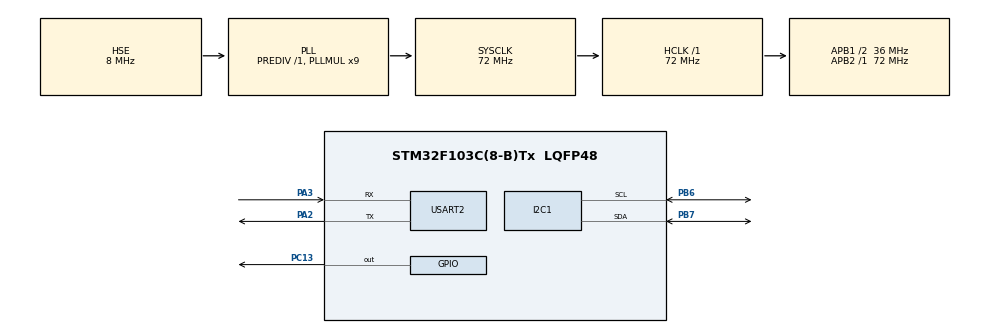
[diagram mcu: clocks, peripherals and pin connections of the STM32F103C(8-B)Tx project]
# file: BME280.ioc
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Mcu.Family=STM32F1
Mcu.Name=STM32F103C(8-B)Tx
Mcu.Package=LQFP48
NVIC.PriorityGroup=NVIC_PRIORITYGROUP_4
PA13.Mode=Serial_Wire
PA13.Signal=SYS_JTMS-SWDIO
PA14.Mode=Serial_Wire
PA14.Signal=SYS_JTCK-SWCLK
PA2.Mode=Asynchronous
PA2.Signal=USART2_TX
PA3.Mode=Asynchronous
PA3.Signal=USART2_RX
PB6.Mode=I2C
PB6.Signal=I2C1_SCL
PB7.Mode=I2C
PB7.Signal=I2C1_SDA
PC13-TAMPER-RTC.Signal=GPIO_Output
PD0-OSC_IN.Mode=HSE-External-Oscillator
PD0-OSC_IN.Signal=RCC_OSC_IN
PD1-OSC_OUT.Mode=HSE-External-Oscillator
PD1-OSC_OUT.Signal=RCC_OSC_OUT
ProjectManager.HeapSize=0x200
ProjectManager.StackSize=0x400
ProjectManager.TargetToolchain=Makefile
RCC.AHBFreq_Value=72000000
RCC.APB1CLKDivider=RCC_HCLK_DIV2
RCC.APB1Freq_Value=36000000
RCC.APB1TimFreq_Value=72000000
RCC.APB2Freq_Value=72000000
RCC.APB2TimFreq_Value=72000000
RCC.HCLKFreq_Value=72000000
RCC.PLLMUL=RCC_PLL_MUL9
RCC.PLLSourceVirtual=RCC_PLLSOURCE_HSE
RCC.SYSCLKFreq_VALUE=72000000
RCC.SYSCLKSource=RCC_SYSCLKSOURCE_PLLCLK
RCC.USBFreq_Value=72000000
USART2.VirtualMode=VM_ASYNC
board=custom

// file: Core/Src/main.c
/* USER CODE BEGIN Header */
/**
  ******************************************************************************
  * @file           : main.c
  * @brief          : Main program body
  ******************************************************************************
  * @attention
  *
  * Copyright (c) 2024 STMicroelectronics.
  * All rights reserved.
  *
  * This software is licensed under terms that can be found in the LICENSE file
  * in the root directory of this software component.
  * If no LICENSE file comes with this software, it is provided AS-IS.
  *
  ******************************************************************************
  */
/* USER CODE END Header */
#include "main.h"

/* USER CODE BEGIN Includes */
#include "BME280_STM32.h"
#include "stdio.h"
#include "math.h"
#include "string.h"

/* USER CODE END Includes */

I2C_HandleTypeDef hi2c1;

UART_HandleTypeDef huart2;

void SystemClock_Config(void);
static void MX_GPIO_Init(void);
static void MX_I2C1_Init(void);
static void MX_USART2_UART_Init(void);

/* USER CODE BEGIN 0 */
float Temperature, Pressure, Humidity;
extern int32_t tRaw, pRaw, hRaw; // Đảm bảo các biến này được định nghĩa ở đâu đó
int data_int = 3;
float data_float = 3.9;

// #ifdef __GNUC__
// #define PUTCHAR_PROTOTYPE int __io_putchar(int ch)
// #else
// #define PUTCHAR_PROTOTYPE int fputc(int ch, FILE *f)
// #endif /* __GNUC__ */
// /**
//  * @brief  Retargets the C library printf function to the USART.
//  * @param None
//  * @retval None
//  */
// PUTCHAR_PROTOTYPE
// {
//   HAL_UART_Transmit(&huart2, (uint8_t *)&ch, 1, HAL_MAX_DELAY);
//   return ch;
// }

/* USER CODE END 0 */

int main(void)
{

  /* MCU Configuration--------------------------------------------------------*/

  /* Reset of all peripherals, Initializes the Flash interface and the Systick. */
  HAL_Init();

  /* Configure the system clock */
  SystemClock_Config();

  /* Initialize all configured peripherals */
  MX_GPIO_Init();
  MX_I2C1_Init();
  MX_USART2_UART_Init();
  /* USER CODE BEGIN 2 */

  // Kiểm tra cảm biến BME280
  if (HAL_I2C_IsDeviceReady(&hi2c1, 0xEC, 3, HAL_MAX_DELAY) != HAL_OK)
  {
    printf("Error! No BMP Sensor Detected!!!\n");
  }
  else
  {
    printf("BME280 Sensor Detected!\n");
    BME280_Config(OSRS_2, OSRS_16, OSRS_1, MODE_NORMAL, T_SB_0p5, IIR_16);
  }
  /* USER CODE END 2 */

  /* Infinite loop */
  while (1)
  {

    /* USER CODE BEGIN 3 */
    BME280_Measure();
    // checkChipID();

    // In giá trị thô
    // printf("Raw Temperature: %ld\n", tRaw);
    // printf("Raw Pressure: %ld\n", pRaw);
    // printf("Raw Humidity: %ld\n", hRaw);
    // printf("Sending Value: %.3f\n", myValue);
    UART_SendFloat(3.14);
    HAL_UART_Transmit(&huart2, (uint8_t *)"Hello\r\n", 7, HAL_MAX_DELAY);
    UART_SendFloat(data_float);
    if (Temperature != 0) // Kiểm tra nếu nhiệt độ hợp lệ
    {
      // printf("Temperature: %f\n", Temperature);
      // // UART_SendFloat(data);
      // //UART_SendInt(data_2);
      // UART_Transmit_Float(&huart2, data);
    }
    else
    {
      printf("Temperature measurement failed!\n");
    }
    // printf("Temperature: %ld\n", Temperature);
    // printf("Pressure: %ld\n", Pressure);
    // printf("Humidity: %ld\n", Humidity);
    HAL_Delay(1000);
  }
  /* USER CODE END 3 */
}

void SystemClock_Config(void)
{
  RCC_OscInitTypeDef RCC_OscInitStruct = {0};
  RCC_ClkInitTypeDef RCC_ClkInitStruct = {0};

  /** Initializes the RCC Oscillators according to the specified parameters
  * in the RCC_OscInitTypeDef structure.
  */
  RCC_OscInitStruct.OscillatorType = RCC_OSCILLATORTYPE_HSE;
  RCC_OscInitStruct.HSEState = RCC_HSE_ON;
  RCC_OscInitStruct.HSEPredivValue = RCC_HSE_PREDIV_DIV1;
  RCC_OscInitStruct.HSIState = RCC_HSI_ON;
  RCC_OscInitStruct.PLL.PLLState = RCC_PLL_ON;
  RCC_OscInitStruct.PLL.PLLSource = RCC_PLLSOURCE_HSE;
  RCC_OscInitStruct.PLL.PLLMUL = RCC_PLL_MUL9;
  if (HAL_RCC_OscConfig(&RCC_OscInitStruct) != HAL_OK)
  {
    Error_Handler();
  }

  /** Initializes the CPU, AHB and APB buses clocks
  */
  RCC_ClkInitStruct.ClockType = RCC_CLOCKTYPE_HCLK|RCC_CLOCKTYPE_SYSCLK
                              |RCC_CLOCKTYPE_PCLK1|RCC_CLOCKTYPE_PCLK2;
  RCC_ClkInitStruct.SYSCLKSource = RCC_SYSCLKSOURCE_PLLCLK;
  RCC_ClkInitStruct.AHBCLKDivider = RCC_SYSCLK_DIV1;
  RCC_ClkInitStruct.APB1CLKDivider = RCC_HCLK_DIV2;
  RCC_ClkInitStruct.APB2CLKDivider = RCC_HCLK_DIV1;

  if (HAL_RCC_ClockConfig(&RCC_ClkInitStruct, FLASH_LATENCY_2) != HAL_OK)
  {
    Error_Handler();
  }
}

static void MX_I2C1_Init(void)
{

  hi2c1.Instance = I2C1;
  hi2c1.Init.ClockSpeed = 100000;
  hi2c1.Init.DutyCycle = I2C_DUTYCYCLE_2;
  hi2c1.Init.OwnAddress1 = 0;
  hi2c1.Init.AddressingMode = I2C_ADDRESSINGMODE_7BIT;
  hi2c1.Init.DualAddressMode = I2C_DUALADDRESS_DISABLE;
  hi2c1.Init.OwnAddress2 = 0;
  hi2c1.Init.GeneralCallMode = I2C_GENERALCALL_DISABLE;
  hi2c1.Init.NoStretchMode = I2C_NOSTRETCH_DISABLE;
  if (HAL_I2C_Init(&hi2c1) != HAL_OK)
  {
    Error_Handler();
  }

}

static void MX_USART2_UART_Init(void)
{

  huart2.Instance = USART2;
  huart2.Init.BaudRate = 115200;
  huart2.Init.WordLength = UART_WORDLENGTH_8B;
  huart2.Init.StopBits = UART_STOPBITS_1;
  huart2.Init.Parity = UART_PARITY_NONE;
  huart2.Init.Mode = UART_MODE_TX_RX;
  huart2.Init.HwFlowCtl = UART_HWCONTROL_NONE;
  huart2.Init.OverSampling = UART_OVERSAMPLING_16;
  if (HAL_UART_Init(&huart2) != HAL_OK)
  {
    Error_Handler();
  }

}

static void MX_GPIO_Init(void)
{
  GPIO_InitTypeDef GPIO_InitStruct = {0};

  /* GPIO Ports Clock Enable */
  __HAL_RCC_GPIOC_CLK_ENABLE();
  __HAL_RCC_GPIOD_CLK_ENABLE();
  __HAL_RCC_GPIOA_CLK_ENABLE();
  __HAL_RCC_GPIOB_CLK_ENABLE();

  /*Configure GPIO pin Output Level */
  HAL_GPIO_WritePin(GPIOC, GPIO_PIN_13, GPIO_PIN_RESET);

  /*Configure GPIO pin : PC13 */
  GPIO_InitStruct.Pin = GPIO_PIN_13;
  GPIO_InitStruct.Mode = GPIO_MODE_OUTPUT_PP;
  GPIO_InitStruct.Pull = GPIO_NOPULL;
  GPIO_InitStruct.Speed = GPIO_SPEED_FREQ_LOW;
  HAL_GPIO_Init(GPIOC, &GPIO_InitStruct);

}

/* USER CODE BEGIN 4 */
// void UART_SendFloat(float value)
// {
//   char buffer[32];
//   snprintf(buffer, sizeof(buffer), "%f\r\n", value); // Sử dụng %.2f để định dạng
//   printf("Sending: %s", buffer);                       // In ra buffer trước khi gửi
//   if (HAL_UART_Transmit(&huart2, (uint8_t *)buffer, strlen(buffer), HAL_MAX_DELAY) != HAL_OK)
//   {
//     printf("Error transmitting float value!\n");
//   }
// }

void UART_Transmit_Float(UART_HandleTypeDef *huart, int data)
{
  char buffer[50]; // Tạo buffer chứa chuỗi dữ liệu
  int realNumber;
  snprintf(buffer, sizeof(buffer), "%d\r\n", realNumber);
  HAL_UART_Transmit(&huart2, (uint8_t *)buffer, strlen(buffer), HAL_MAX_DELAY);
}

void UART_SendInt(int value)
{
  char buffer[32];
  snprintf(buffer, sizeof(buffer), "%d\r\n", value);
  HAL_UART_Transmit(&huart2, (uint8_t *)buffer, strlen(buffer), HAL_MAX_DELAY);
}
void UART_SendFloat(float value)
{
  char buffer[32];
  // Chuyển số thực thành chuỗi
  sprintf(buffer, "%.3f\r\n", value);
  // Truyền chuỗi qua UART
  HAL_UART_Transmit(&huart2, (uint8_t *)buffer, strlen(buffer), HAL_MAX_DELAY);
}

/* USER CODE END 4 */

void Error_Handler(void)
{
  __disable_irq();
  while (1)
  {
  }
}
